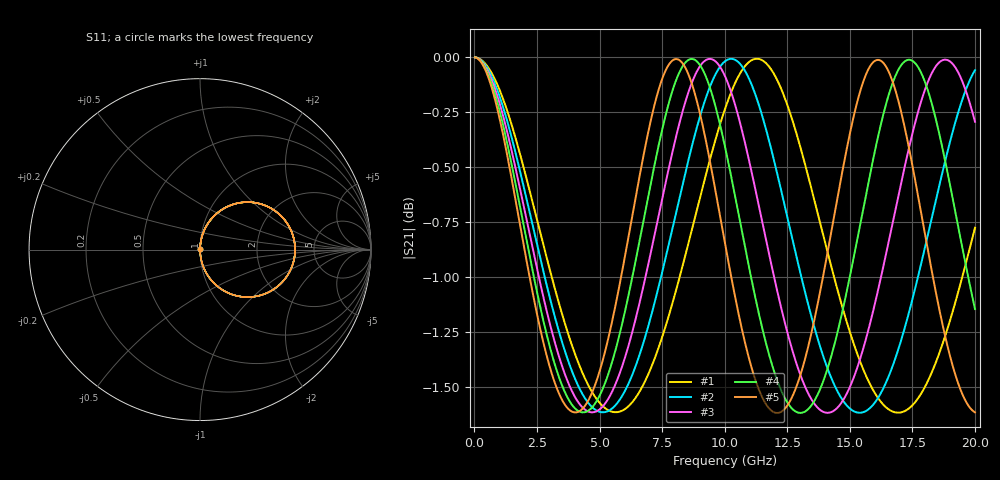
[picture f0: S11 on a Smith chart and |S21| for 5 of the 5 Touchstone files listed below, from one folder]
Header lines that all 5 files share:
! Touchstone file exported from Circuit Design 2026.1.0
!  File:  local/demo-project/Project1.aedt
!  Design:  Circuit1
!  Project:  Project1
!  Setup:  LinearFrequency
!  Solution:  LinearFrequency
# GHz S MA R 50.000000
! Terminal data exported
! Port[1] = Port1
! Port[2] = Port2
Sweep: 20 MHz to 20 GHz
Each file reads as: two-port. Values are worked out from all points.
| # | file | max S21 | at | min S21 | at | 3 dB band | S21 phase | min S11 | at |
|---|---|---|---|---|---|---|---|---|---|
| 1 | S1.s2p | 0.00 dB | 20 MHz | -1.6 dB | 16.92 GHz | 20 MHz-20 GHz | -156 deg at 10.02 GHz | -58.4 dB | 11.28 GHz |
| 2 | S2.s2p | 0.00 dB | 20 MHz | -1.6 dB | 15.4 GHz | 20 MHz-20 GHz | -175 deg at 10.02 GHz | -65.6 dB | 10.26 GHz |
| 3 | S3.s2p | 0.00 dB | 20 MHz | -1.6 dB | 14.1 GHz | 20 MHz-20 GHz | 166 deg at 10.02 GHz | -58.6 dB | 9.4 GHz |
| 4 | S4.s2p | 0.00 dB | 20 MHz | -1.6 dB | 13.02 GHz | 20 MHz-20 GHz | 148 deg at 10.02 GHz | -64.0 dB | 8.68 GHz |
| 5 | S5.s2p | 0.00 dB | 20 MHz | -1.6 dB | 12.1 GHz | 20 MHz-20 GHz | 131 deg at 10.02 GHz | -63.9 dB | 8.06 GHz |
